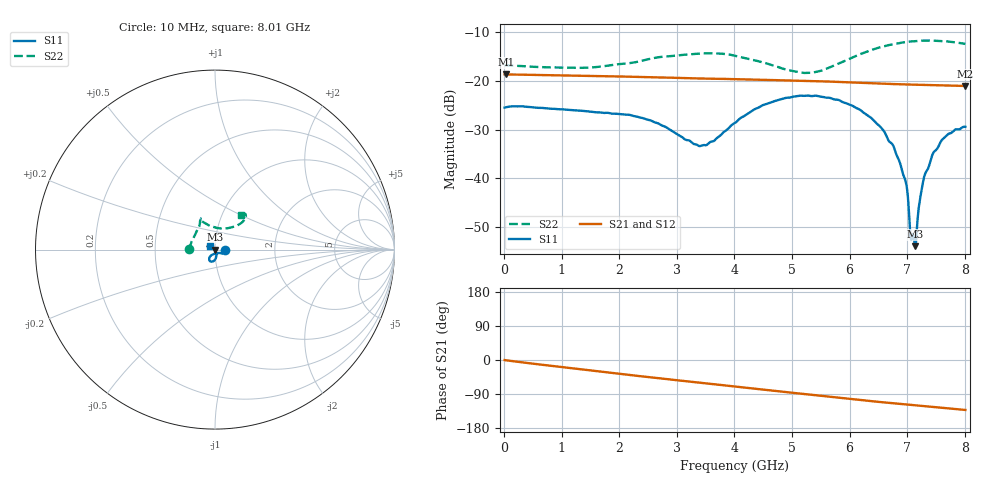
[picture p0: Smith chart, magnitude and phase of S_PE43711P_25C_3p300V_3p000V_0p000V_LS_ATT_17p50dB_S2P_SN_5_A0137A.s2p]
! Device ID: PE43711P
! File Path: z:\PE43711P\CHAR_NOM_04282014\AMB\3p300\LS_ATT_17p50dB\PE43711P_AMB_3p300V_3p000V_0p000V_LS_ATT_17p50dB_S2P_SN_5_A0137A.s2p
! Serial: 5
! Lot: A0137A
! Temp: 25C
! VDD: 3.300
! VSS: 0.000
! Control_Hi: 3.000
! Control_Lo: 0.000
! Attenuation Step: 17.50dB
! Port 1: RF1
! Port 2: RF2
! ThroughPath:1-2
! IDD: 0.0001273743
! ISS: -7.5e-009
#  Hz  S  RI  R  50
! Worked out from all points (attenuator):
!   801 points, 10 MHz to 8.01 GHz, reference 50 ohm
!   highest |S21| = -18.67 dB at 40 MHz (marker M1); lowest = -21.0 dB at 8.01 GHz (marker M2)
!   lowest |S11| = -54.0 dB at 7.14 GHz (marker M3), VSWR 1.00, Z = 49.8 - j0.0353 ohm
!   |S11| at or under -10 dB: start of sweep to end of sweep
!   |S22| runs from -18.4 to -11.7 dB; largest |S21 - S12| = 0.00031
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1e7  0.0532 0.000185  0.1166 -0.000478  0.1167 -0.000507  -0.1454 0.000994
4e7  0.0538 -4.54e-05  0.1166 -0.00164  0.1167 -0.00166  -0.1446 0.00288
1.35e9  0.0456 -0.0187  0.1028 -0.0476  0.1029 -0.0476  -0.1181 0.0683
2.68e9  0.0309 -0.0197  0.0728 -0.0806  0.0729 -0.0807  -0.0839 0.154
3.41e9  0.00551 -0.0207  0.0528 -0.0919  0.0529 -0.0919  -0.0806 0.1738
4.01e9  -0.0199 -0.0313  0.0356 -0.0981  0.0356 -0.0982  -0.0787 0.1639
4.52e9  -0.0317 -0.0476  0.0205 -0.1006  0.0205 -0.1006  -0.0511 0.1451
5.35e9  -0.0221 -0.0663  -0.00352 -0.0996  -0.0035 -0.0997  0.0295 0.1178
6.17e9  0.00312 -0.0508  -0.0254 -0.0925  -0.0255 -0.0925  0.128 0.1365
6.54e9  0.00789 -0.0325  -0.0336 -0.0876  -0.0337 -0.0878  0.1572 0.1588
6.68e9  0.00671 -0.0232  -0.0364 -0.0859  -0.0364 -0.086  0.1635 0.1672
6.78e9  0.0065 -0.0188  -0.0384 -0.0845  -0.0384 -0.0846  0.1676 0.1729
6.95e9  0.00265 -0.00981  -0.0416 -0.0822  -0.0416 -0.0823  0.1706 0.1817
6.99e9  0.00283 -0.0078  -0.0424 -0.0817  -0.0423 -0.0818  0.1717 0.1833
7.04e9  0.0012 -0.00342  -0.0434 -0.081  -0.0433 -0.081  0.1722 0.1868
7.08e9  -0.00132 -0.00204  -0.0441 -0.0804  -0.0441 -0.0805  0.1718 0.1885
7.11e9  -0.00194 -0.00168  -0.0447 -0.08  -0.0446 -0.0801  0.1719 0.1894
7.14e9  -0.00197 -0.000354  -0.0452 -0.0796  -0.0452 -0.0796  0.1721 0.1908
7.28e9  -0.00651 0.00691  -0.0478 -0.0775  -0.0477 -0.0776  0.1705 0.1966
7.45e9  -0.0122 0.0133  -0.0507 -0.0749  -0.0507 -0.0749  0.165 0.2007
7.68e9  -0.0196 0.019  -0.0543 -0.0713  -0.0544 -0.0713  0.1567 0.2017
8.01e9  -0.0261 0.0215  -0.0593 -0.0662  -0.0595 -0.066  0.1467 0.19
